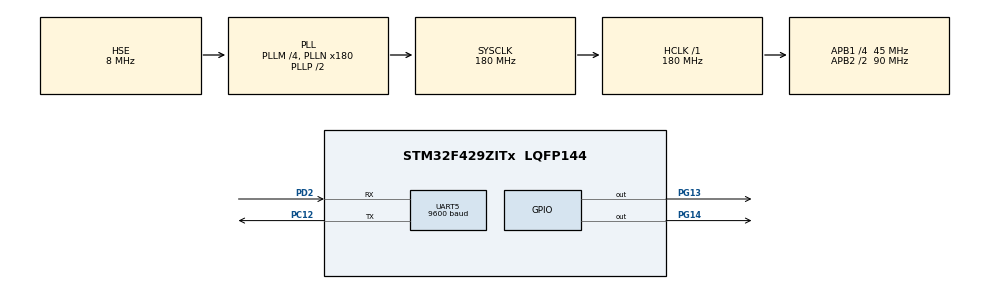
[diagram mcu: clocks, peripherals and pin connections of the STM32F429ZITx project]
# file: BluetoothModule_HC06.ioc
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Mcu.Family=STM32F4
Mcu.Name=STM32F429ZITx
Mcu.Package=LQFP144
NVIC.PriorityGroup=NVIC_PRIORITYGROUP_4
PC12.Mode=Asynchronous
PC12.Signal=UART5_TX
PD2.Mode=Asynchronous
PD2.Signal=UART5_RX
PG13.Signal=GPIO_Output
PG14.Signal=GPIO_Output
PH0/OSC_IN.Mode=HSE-External-Oscillator
PH0/OSC_IN.Signal=RCC_OSC_IN
PH1/OSC_OUT.Mode=HSE-External-Oscillator
PH1/OSC_OUT.Signal=RCC_OSC_OUT
ProjectManager.HeapSize=0x200
ProjectManager.StackSize=0x400
ProjectManager.TargetToolchain=MDK-ARM V5.27
RCC.48MHZClocksFreq_Value=90000000
RCC.AHBFreq_Value=180000000
RCC.APB1CLKDivider=RCC_HCLK_DIV4
RCC.APB1Freq_Value=45000000
RCC.APB1TimFreq_Value=90000000
RCC.APB2CLKDivider=RCC_HCLK_DIV2
RCC.APB2Freq_Value=90000000
RCC.APB2TimFreq_Value=180000000
RCC.CortexFreq_Value=180000000
RCC.HCLKFreq_Value=180000000
RCC.HSE_VALUE=8000000
RCC.HSI_VALUE=16000000
RCC.LSE_VALUE=32768
RCC.PLLM=4
RCC.PLLN=180
RCC.PLLSourceVirtual=RCC_PLLSOURCE_HSE
RCC.SYSCLKFreq_VALUE=180000000
RCC.SYSCLKSource=RCC_SYSCLKSOURCE_PLLCLK
RCC.VCOOutputFreq_Value=360000000
UART5.BaudRate=9600
UART5.VirtualMode=Asynchronous
board=custom

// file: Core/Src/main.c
/* USER CODE BEGIN Header */
/**
  ******************************************************************************
  * @file           : main.c
  * @brief          : Main program body
  ******************************************************************************
  * @attention
  *
  * <h2><center>&copy; Copyright (c) 2020 STMicroelectronics.
  * All rights reserved.</center></h2>
  *
  * This software component is licensed by ST under BSD 3-Clause license,
  * the "License"; You may not use this file except in compliance with the
  * License. You may obtain a copy of the License at:
  *                        opensource.org/licenses/BSD-3-Clause
  *
  ******************************************************************************
  */
/* USER CODE END Header */
#include "main.h"

/* USER CODE BEGIN Includes */

#include <stdbool.h>

/* USER CODE END Includes */

/* USER CODE BEGIN PTD */

char rx_buff[50], tx_buff[50];

bool LedState = false;

/* USER CODE END PTD */

UART_HandleTypeDef huart5;

void SystemClock_Config(void);
static void MX_GPIO_Init(void);
static void MX_UART5_Init(void);

int main(void)
{

  /* MCU Configuration--------------------------------------------------------*/

  /* Reset of all peripherals, Initializes the Flash interface and the Systick. */
  HAL_Init();

  /* Configure the system clock */
  SystemClock_Config();

  /* Initialize all configured peripherals */
  MX_GPIO_Init();
  MX_UART5_Init();
  /* USER CODE BEGIN 2 */

	HAL_UART_Transmit(&huart5, (uint8_t*)tx_buff, sprintf(tx_buff, "Hosgeldiniz\n"), 100);

  /* USER CODE END 2 */

  /* Infinite loop */
  while (1)
  {

    /* USER CODE BEGIN 3 */

		 HAL_UART_Receive(&huart5, (uint8_t*)rx_buff, 50, 100);

			if(rx_buff[0] == '1'){

					 HAL_GPIO_WritePin(GPIOG, GPIO_PIN_13, GPIO_PIN_SET);

					 if(LedState != true)
							  HAL_UART_Transmit(&huart5, (uint8_t*)tx_buff, sprintf(tx_buff, "Led1 Turned On\n"), 100);

					 LedState = true;
			}

			else if(rx_buff[0] == '2'){

					 HAL_GPIO_WritePin(GPIOG, GPIO_PIN_13, GPIO_PIN_RESET);

					 if(LedState != false)
							HAL_UART_Transmit(&huart5, (uint8_t*)tx_buff, sprintf(tx_buff, "Led1 Turned Off\n"), 100);

					 LedState = false;
			}

		  else	if(rx_buff[0] == '3'){

					 HAL_GPIO_WritePin(GPIOG, GPIO_PIN_14, GPIO_PIN_SET);

			}

			else if(rx_buff[0] == '4'){

					 HAL_GPIO_WritePin(GPIOG, GPIO_PIN_14, GPIO_PIN_RESET);

			}

  }
  /* USER CODE END 3 */
}

void SystemClock_Config(void)
{
  RCC_OscInitTypeDef RCC_OscInitStruct = {0};
  RCC_ClkInitTypeDef RCC_ClkInitStruct = {0};

  /** Configure the main internal regulator output voltage
  */
  __HAL_RCC_PWR_CLK_ENABLE();
  __HAL_PWR_VOLTAGESCALING_CONFIG(PWR_REGULATOR_VOLTAGE_SCALE1);
  /** Initializes the RCC Oscillators according to the specified parameters
  * in the RCC_OscInitTypeDef structure.
  */
  RCC_OscInitStruct.OscillatorType = RCC_OSCILLATORTYPE_HSE;
  RCC_OscInitStruct.HSEState = RCC_HSE_ON;
  RCC_OscInitStruct.PLL.PLLState = RCC_PLL_ON;
  RCC_OscInitStruct.PLL.PLLSource = RCC_PLLSOURCE_HSE;
  RCC_OscInitStruct.PLL.PLLM = 4;
  RCC_OscInitStruct.PLL.PLLN = 180;
  RCC_OscInitStruct.PLL.PLLP = RCC_PLLP_DIV2;
  RCC_OscInitStruct.PLL.PLLQ = 4;
  if (HAL_RCC_OscConfig(&RCC_OscInitStruct) != HAL_OK)
  {
    Error_Handler();
  }
  /** Activate the Over-Drive mode
  */
  if (HAL_PWREx_EnableOverDrive() != HAL_OK)
  {
    Error_Handler();
  }
  /** Initializes the CPU, AHB and APB buses clocks
  */
  RCC_ClkInitStruct.ClockType = RCC_CLOCKTYPE_HCLK|RCC_CLOCKTYPE_SYSCLK
                              |RCC_CLOCKTYPE_PCLK1|RCC_CLOCKTYPE_PCLK2;
  RCC_ClkInitStruct.SYSCLKSource = RCC_SYSCLKSOURCE_PLLCLK;
  RCC_ClkInitStruct.AHBCLKDivider = RCC_SYSCLK_DIV1;
  RCC_ClkInitStruct.APB1CLKDivider = RCC_HCLK_DIV4;
  RCC_ClkInitStruct.APB2CLKDivider = RCC_HCLK_DIV2;

  if (HAL_RCC_ClockConfig(&RCC_ClkInitStruct, FLASH_LATENCY_5) != HAL_OK)
  {
    Error_Handler();
  }
}

static void MX_UART5_Init(void)
{

  huart5.Instance = UART5;
  huart5.Init.BaudRate = 9600;
  huart5.Init.WordLength = UART_WORDLENGTH_8B;
  huart5.Init.StopBits = UART_STOPBITS_1;
  huart5.Init.Parity = UART_PARITY_NONE;
  huart5.Init.Mode = UART_MODE_TX_RX;
  huart5.Init.HwFlowCtl = UART_HWCONTROL_NONE;
  huart5.Init.OverSampling = UART_OVERSAMPLING_16;
  if (HAL_UART_Init(&huart5) != HAL_OK)
  {
    Error_Handler();
  }

}

static void MX_GPIO_Init(void)
{
  GPIO_InitTypeDef GPIO_InitStruct = {0};

  /* GPIO Ports Clock Enable */
  __HAL_RCC_GPIOH_CLK_ENABLE();
  __HAL_RCC_GPIOC_CLK_ENABLE();
  __HAL_RCC_GPIOD_CLK_ENABLE();
  __HAL_RCC_GPIOG_CLK_ENABLE();

  /*Configure GPIO pin Output Level */
  HAL_GPIO_WritePin(GPIOG, GPIO_PIN_13|GPIO_PIN_14, GPIO_PIN_RESET);

  /*Configure GPIO pins : PG13 PG14 */
  GPIO_InitStruct.Pin = GPIO_PIN_13|GPIO_PIN_14;
  GPIO_InitStruct.Mode = GPIO_MODE_OUTPUT_PP;
  GPIO_InitStruct.Pull = GPIO_NOPULL;
  GPIO_InitStruct.Speed = GPIO_SPEED_FREQ_LOW;
  HAL_GPIO_Init(GPIOG, &GPIO_InitStruct);

}

void Error_Handler(void)
{
}

/************************ (C) COPYRIGHT STMicroelectronics *****END OF FILE****/
